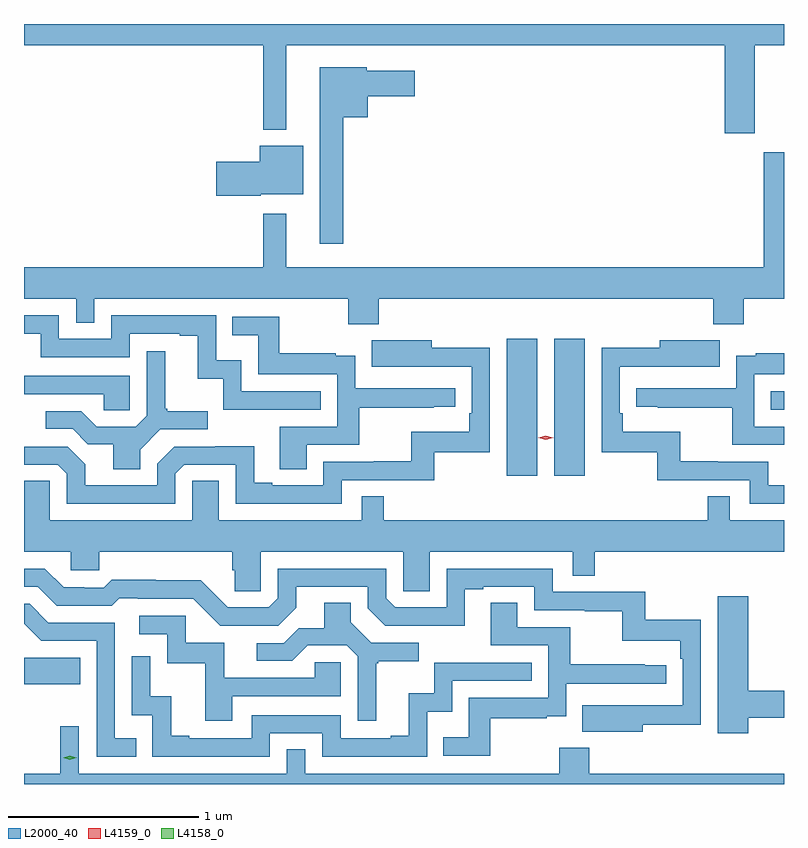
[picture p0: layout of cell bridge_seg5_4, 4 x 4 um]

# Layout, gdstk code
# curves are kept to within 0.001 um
import gdstk
lib = gdstk.Library(unit=1e-6, precision=1e-09)
def R(c, l, rs):  # rectangles x0, y0, x1, y1
    for r in rs: c.add(gdstk.rectangle(r[:2], r[2:], *l))
def P(c, l, *ps):  # polygons
    for p in ps: c.add(gdstk.Polygon(p, *l))
L2000_40 = (2000, 40)
L4158_0 = (4158, 0)
L4159_0 = (4159, 0)

bridge_seg5_4 = lib.new_cell('bridge_seg5_4')
R(bridge_seg5_4, L2000_40, [(922.694,900.017,922.991,900.157), (925.235,901.116,925.396,901.837), (925.484,901.116,925.645,901.837), (926.623,901.464,926.694,901.56)])
P(bridge_seg5_4, L2000_40, [(926.541,903.38),(926.694,903.38),(926.694,903.493),(922.694,903.493),(922.694,903.38),(923.952,903.38),(923.952,902.936),(924.073,902.936),(924.073,903.38),(926.381,903.38),(926.381,902.919),(926.541,902.919)],
  [(924.373,903.002),(924.502,903.002),(924.502,903.113),(924.751,903.113),(924.751,903.247),(924.498,903.247),(924.498,903.265),(924.251,903.265),(924.251,902.337),(924.373,902.337)],
  [(923.94,902.597),(924.163,902.597),(924.163,902.851),(923.936,902.851),(923.936,902.768),(923.706,902.768),(923.706,902.59),(923.94,902.59)],
  [(924.56,902.048),(926.321,902.048),(926.321,901.913),(926.481,901.913),(926.481,902.048),(926.694,902.048),(926.694,902.818),(926.588,902.818),(926.588,902.212),(924.073,902.212),(924.073,902.494),(923.952,902.494),(923.952,902.212),(922.694,902.212),(922.694,902.048),(922.968,902.048),(922.968,901.921),(923.064,901.921),(923.064,902.048),(924.4,902.048),(924.4,901.913),(924.56,901.913)],
  [(924.257,901.56),(923.838,901.56),(923.838,901.723),(923.706,901.723),(923.706,901.959),(923.154,901.959),(923.154,901.836),(922.878,901.836),(922.878,901.959),(922.694,901.959),(922.694,901.863),(922.782,901.863),(922.782,901.74),(923.25,901.74),(923.25,901.863),(923.513,901.863),(923.513,901.851),(923.609,901.851),(923.609,901.625),(923.742,901.625),(923.742,901.464),(924.257,901.464)],
  [(924.181,901.278),(924.458,901.278),(924.458,901.474),(924.851,901.474),(924.851,901.479),(924.964,901.479),(924.964,901.575),(924.438,901.575),(924.438,901.747),(924.335,901.747),(924.335,901.759),(924.037,901.759),(924.037,901.953),(923.791,901.953),(923.791,901.856),(923.926,901.856),(923.926,901.65),(924.342,901.65),(924.342,901.374),(924.041,901.374),(924.041,901.15),(924.181,901.15)],
  [(926.694,901.065),(926.61,901.065),(926.61,901.188),(926.345,901.188),(926.345,901.193),(926.149,901.193),(926.149,901.348),(925.844,901.348),(925.844,901.444),(925.83,901.444),(925.83,901.689),(926.143,901.689),(926.143,901.688),(926.357,901.688),(926.357,901.828),(926.039,901.828),(926.039,901.79),(925.734,901.79),(925.734,901.239),(926.028,901.239),(926.028,901.092),(926.514,901.092),(926.514,900.969),(926.694,900.969)],
  [(923.49,901.125),(923.538,901.173),(923.808,901.173),(923.808,900.969),(924.366,900.969),(924.366,901.092),(924.853,901.092),(924.853,901.239),(925.146,901.239),(925.146,901.79),(924.841,901.79),(924.841,901.828),(924.523,901.828),(924.523,901.688),(925.05,901.689),(925.05,901.444),(925.037,901.444),(925.037,901.348),(924.732,901.348),(924.732,901.193),(924.535,901.193),(924.535,901.188),(924.27,901.188),(924.27,901.065),(924.001,901.065),(924.001,901.078),(923.905,901.078),(923.905,901.271),(923.7,901.271),(923.7,901.269),(923.484,901.269),(923.394,901.179),(923.394,901.065),(923.017,901.065),(923.017,901.175),(922.923,901.269),(922.694,901.269),(922.694,901.173),(922.872,901.173),(922.92,901.125),(922.92,900.969),(923.49,900.969)],
  [(923.305,901.252),(923.412,901.359),(923.662,901.359),(923.662,901.456),(923.449,901.456),(923.449,901.468),(923.437,901.468),(923.437,901.771),(923.34,901.771),(923.34,901.431),(923.283,901.374),(923.077,901.374),(922.996,901.455),(922.809,901.455),(922.809,901.362),(922.95,901.362),(923.03,901.282),(923.165,901.282),(923.165,901.15),(923.305,901.15)],
  [(926.694,901.374),(926.538,901.374),(926.538,901.65),(926.694,901.65),(926.694,901.759),(926.545,901.759),(926.545,901.747),(926.442,901.747),(926.442,901.575),(925.917,901.575),(925.917,901.479),(926.029,901.479),(926.029,901.474),(926.422,901.474),(926.422,901.278),(926.694,901.278)],
  [(923.25,901.641),(922.694,901.641),(922.694,901.545),(923.113,901.545),(923.113,901.461),(923.25,901.461)],
  [(923.94,900.716),(924.69,900.716),(924.69,900.508),(924.829,900.508),(924.829,900.716),(925.581,900.716),(925.581,900.589),(925.697,900.589),(925.697,900.716),(926.694,900.716),(926.694,900.88),(926.409,900.88),(926.409,901.007),(926.293,901.007),(926.293,900.88),(924.587,900.88),(924.587,901.007),(924.471,901.007),(924.471,900.88),(923.719,900.88),(923.719,901.088),(923.58,901.088),(923.58,900.88),(922.83,900.88),(922.83,901.088),(922.694,901.088),(922.694,900.716),(922.941,900.716),(922.941,900.618),(923.091,900.618),(923.091,900.716),(923.789,900.716),(923.789,900.618),(923.803,900.618),(923.803,900.508),(923.94,900.508)],
  [(925.951,899.806),(926.256,899.806),(926.256,900.358),(925.963,900.358),(925.963,900.504),(925.476,900.504),(925.476,900.627),(924.918,900.627),(924.918,900.423),(924.648,900.423),(924.6,900.471),(924.6,900.627),(924.03,900.627),(924.03,900.471),(923.982,900.423),(923.766,900.423),(923.624,900.565),(923.388,900.565),(923.388,900.568),(923.155,900.568),(923.113,900.525),(923.01,900.525),(923.01,900.528),(922.903,900.528),(922.804,900.627),(922.694,900.627),(922.694,900.531),(922.767,900.531),(922.866,900.432),(923.155,900.432),(923.194,900.471),(923.293,900.471),(923.293,900.468),(923.586,900.468),(923.727,900.327),(924.033,900.327),(924.127,900.421),(924.127,900.531),(924.504,900.531),(924.504,900.417),(924.594,900.327),(925.015,900.326),(925.015,900.519),(925.111,900.519),(925.111,900.531),(925.38,900.531),(925.38,900.408),(925.645,900.408),(925.645,900.403),(925.842,900.403),(925.842,900.248),(926.147,900.248),(926.147,900.152),(926.16,900.152),(926.16,899.907),(925.633,899.908),(925.633,899.768),(925.951,899.768)],
  [(926.506,899.842),(926.694,899.842),(926.694,899.984),(926.506,899.984),(926.506,900.481),(926.345,900.481),(926.345,899.76),(926.506,899.76)],
  [(925.147,899.838),(925.445,899.838),(925.445,899.849),(925.548,899.849),(925.548,900.021),(926.074,900.021),(926.074,900.117),(925.961,900.117),(925.961,900.122),(925.568,900.122),(925.568,900.318),(925.291,900.318),(925.291,900.446),(925.151,900.446),(925.151,900.222),(925.452,900.222),(925.452,899.946),(925.036,899.946),(925.036,899.74),(924.901,899.74),(924.901,899.643),(925.147,899.643)],
  [(924.547,900.129),(924.559,900.129),(924.559,900.14),(924.772,900.14),(924.772,900.237),(924.522,900.237),(924.415,900.344),(924.415,900.446),(924.275,900.446),(924.275,900.314),(924.14,900.314),(924.06,900.234),(923.919,900.234),(923.919,900.141),(924.106,900.141),(924.187,900.222),(924.393,900.222),(924.45,900.165),(924.45,899.826),(924.547,899.826)],
  [(923.285,899.733),(923.172,899.733),(923.172,900.342),(922.822,900.342),(922.723,900.441),(922.694,900.441),(922.694,900.337),(922.785,900.246),(923.076,900.246),(923.076,899.637),(923.285,899.637)],
  [(923.791,899.955),(924.36,899.955),(924.36,900.135),(924.223,900.135),(924.223,900.051),(923.749,900.051),(923.749,900.237),(923.544,900.237),(923.544,900.378),(923.301,900.378),(923.301,900.282),(923.448,900.282),(923.448,900.129),(923.647,900.129),(923.647,899.826),(923.791,899.826)],
  [(923.988,899.76),(924.264,899.76),(924.264,899.637),(924.816,899.637),(924.816,899.873),(924.948,899.873),(924.948,900.036),(925.367,900.036),(925.367,900.132),(924.852,900.132),(924.852,899.971),(924.719,899.971),(924.719,899.746),(924.623,899.746),(924.623,899.733),(924.36,899.733),(924.36,899.856),(923.892,899.856),(923.892,899.733),(923.563,899.733),(923.563,899.746),(923.468,899.746),(923.468,899.954),(923.358,899.954),(923.358,900.166),(923.262,900.166),(923.262,899.856),(923.37,899.856),(923.37,899.637),(923.988,899.637)],
  [(926.694,899.548),(925.67,899.548),(925.67,899.683),(925.51,899.683),(925.51,899.548),(924.174,899.548),(924.174,899.675),(924.078,899.675),(924.078,899.548),(922.983,899.548),(922.983,899.797),(922.886,899.797),(922.886,899.548),(922.694,899.548),(922.694,899.493),(926.694,899.493)])
P(bridge_seg5_4, L4158_0, [(922.936,899.621),(922.9,899.631),(922.9,899.632),(922.9,899.632),(922.936,899.641),(922.972,899.631),(922.972,899.631),(922.972,899.631)])
P(bridge_seg5_4, L4159_0, [(925.44,901.306),(925.4,901.315),(925.4,901.315),(925.4,901.316),(925.44,901.325),(925.48,901.316),(925.48,901.315),(925.48,901.315)])

lib.write_gds('bridge_seg5_4.gds')
